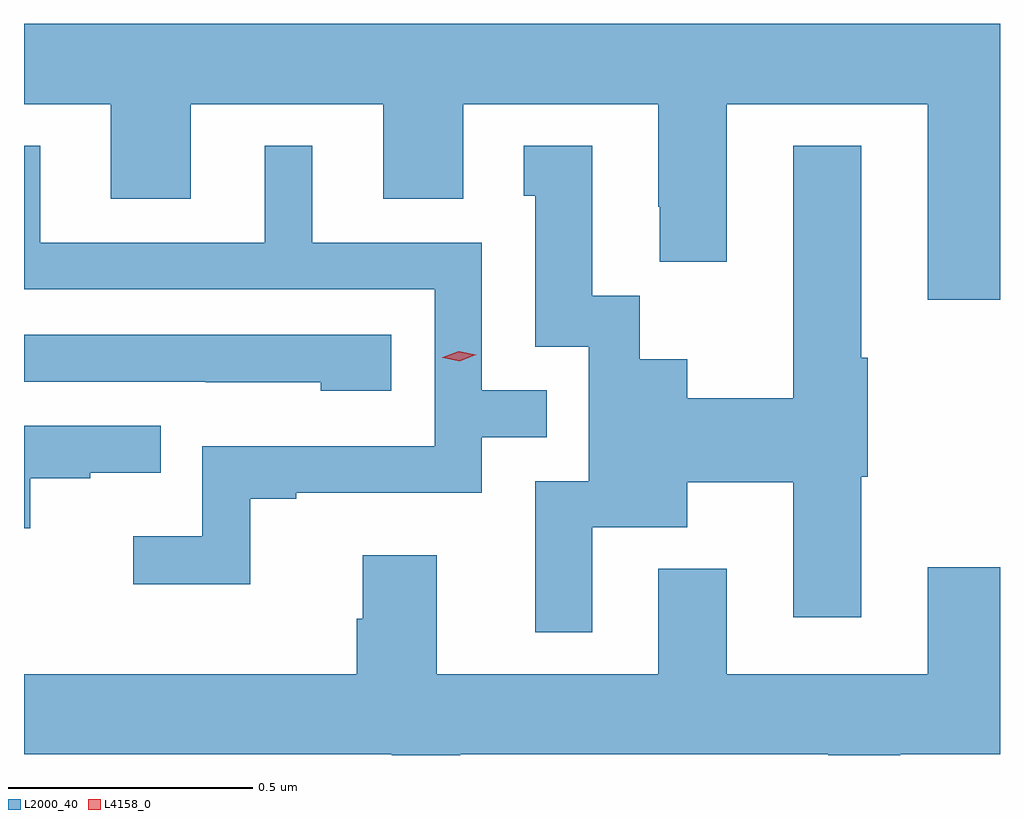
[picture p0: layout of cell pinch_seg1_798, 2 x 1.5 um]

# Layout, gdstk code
import gdstk
lib = gdstk.Library(unit=1e-6, precision=1e-09)
def P(c, l, *ps):  # polygons
    for p in ps: c.add(gdstk.Polygon(p, *l))
L2000_40 = (2000, 40)
L4158_0 = (4158, 0)

pinch_seg1_798 = lib.new_cell('pinch_seg1_798')
P(pinch_seg1_798, L2000_40, [(602.151,559.888),(600.151,559.888),(600.151,559.724),(600.329,559.724),(600.329,559.53),(600.493,559.53),(600.493,559.724),(600.887,559.724),(600.887,559.53),(601.051,559.53),(601.051,559.724),(601.451,559.724),(601.451,559.513),(601.454,559.513),(601.454,559.401),(601.591,559.401),(601.591,559.724),(602.003,559.724),(602.003,559.323),(602.151,559.323)],
  [(601.315,558.857),(601.51,558.857),(601.51,558.949),(601.727,558.949),(601.727,558.672),(601.867,558.672),(601.867,558.96),(601.88,558.96),(601.88,559.204),(601.867,559.204),(601.867,559.639),(601.727,559.639),(601.727,559.121),(601.51,559.121),(601.51,559.201),(601.413,559.201),(601.413,559.331),(601.315,559.331),(601.315,559.639),(601.175,559.639),(601.175,559.536),(601.199,559.536),(601.199,559.227),(601.308,559.227),(601.308,558.951),(601.199,558.951),(601.199,558.642),(601.315,558.642)],
  [(600.615,558.915),(600.709,558.915),(600.709,558.927),(601.089,558.927),(601.089,559.041),(601.222,559.041),(601.222,559.137),(601.089,559.137),(601.089,559.44),(600.742,559.44),(600.742,559.639),(600.644,559.639),(600.644,559.44),(600.184,559.44),(600.184,559.639),(600.151,559.639),(600.151,559.344),(600.993,559.344),(600.993,559.023),(600.516,559.023),(600.516,558.838),(600.375,558.838),(600.375,558.74),(600.615,558.74)],
  [(600.904,559.251),(600.151,559.251),(600.151,559.155),(600.523,559.155),(600.523,559.154),(600.759,559.154),(600.759,559.136),(600.904,559.136)],
  [(600.164,558.957),(600.287,558.957),(600.287,558.968),(600.431,558.968),(600.431,559.065),(600.151,559.065),(600.151,558.855),(600.164,558.855)],
  [(601.045,558.392),(601.799,558.392),(601.799,558.39),(601.947,558.39),(601.947,558.392),(602.151,558.392),(602.151,558.775),(602.003,558.775),(602.003,558.556),(601.591,558.556),(601.591,558.772),(601.451,558.772),(601.451,558.556),(600.997,558.556),(600.997,558.799),(600.845,558.799),(600.845,558.669),(600.833,558.669),(600.833,558.556),(600.151,558.556),(600.151,558.392),(600.905,558.392),(600.905,558.39),(601.045,558.39)])
P(pinch_seg1_798, L4158_0, [(601.044,559.197),(601.009,559.204),(601.008,559.204),(601.009,559.205),(601.042,559.217),(601.077,559.21),(601.078,559.21),(601.077,559.21)])

lib.write_gds('pinch_seg1_798.gds')
